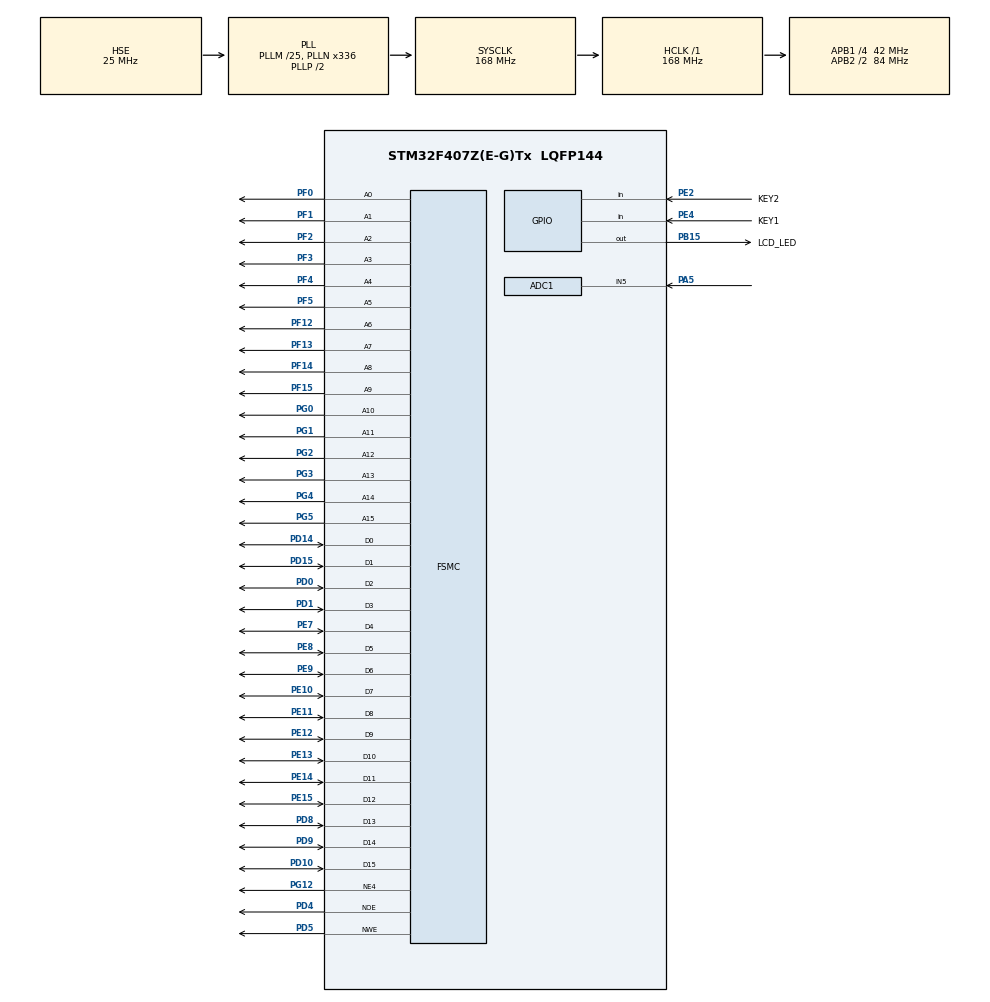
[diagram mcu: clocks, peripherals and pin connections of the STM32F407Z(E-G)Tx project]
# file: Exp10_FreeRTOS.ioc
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ADC1.Channel-0\#ChannelRegularConversion=ADC_CHANNEL_5
ADC1.NbrOfConversionFlag=1
ADC1.Rank-0\#ChannelRegularConversion=1
ADC1.SamplingTime-0\#ChannelRegularConversion=ADC_SAMPLETIME_3CYCLES
ADC1.master=1
FREERTOS.Tasks01=AdcTask,0,256,StartAdcTask,Default,NULL,Dynamic,NULL,NULL;KeyTask,1,128,StartKeyTask,Default,NULL,Dynamic,NULL,NULL
FSMC.BusTurnAroundDuration1=0
FSMC.DataSetupTime1=60
FSMC.ExtendedAddressSetupTime1=3
FSMC.ExtendedDataSetupTime1=3
FSMC.ExtendedMode1=FSMC_EXTENDED_MODE_ENABLE
FSMC.WriteOperation1=FSMC_WRITE_OPERATION_ENABLE
Mcu.Family=STM32F4
Mcu.Name=STM32F407Z(E-G)Tx
Mcu.Package=LQFP144
NVIC.PriorityGroup=NVIC_PRIORITYGROUP_4
NVIC.TIM1_UP_TIM10_IRQn=true\:15\:0\:false\:false\:true\:false\:false\:true\:true
NVIC.TimeBase=TIM1_UP_TIM10_IRQn
NVIC.TimeBaseIP=TIM1
PA13.Mode=Serial_Wire
PA13.Signal=SYS_JTMS-SWDIO
PA14.Mode=Serial_Wire
PA14.Signal=SYS_JTCK-SWCLK
PA5.Signal=ADCx_IN5
PB15.GPIO_Label=LCD_LED
PB15.PinState=GPIO_PIN_SET
PB15.Signal=GPIO_Output
PD0.Signal=FSMC_D2_DA2
PD1.Signal=FSMC_D3_DA3
PD10.Signal=FSMC_D15_DA15
PD14.Signal=FSMC_D0_DA0
PD15.Signal=FSMC_D1_DA1
PD4.Signal=FSMC_NOE
PD5.Signal=FSMC_NWE
PD8.Signal=FSMC_D13_DA13
PD9.Signal=FSMC_D14_DA14
PE10.Signal=FSMC_D7_DA7
PE11.Signal=FSMC_D8_DA8
PE12.Signal=FSMC_D9_DA9
PE13.Signal=FSMC_D10_DA10
PE14.Signal=FSMC_D11_DA11
PE15.Signal=FSMC_D12_DA12
PE2.GPIO_Label=KEY2
PE2.GPIO_PuPd=GPIO_PULLUP
PE2.Signal=GPIO_Input
PE4.GPIO_Label=KEY1
PE4.GPIO_PuPd=GPIO_PULLUP
PE4.Signal=GPIO_Input
PE7.Signal=FSMC_D4_DA4
PE8.Signal=FSMC_D5_DA5
PE9.Signal=FSMC_D6_DA6
PF0.Signal=FSMC_A0
PF1.Signal=FSMC_A1
PF12.Signal=FSMC_A6
PF13.Signal=FSMC_A7
PF14.Signal=FSMC_A8
PF15.Signal=FSMC_A9
PF2.Signal=FSMC_A2
PF3.Signal=FSMC_A3
PF4.Signal=FSMC_A4
PF5.Signal=FSMC_A5
PG0.Signal=FSMC_A10
PG1.Signal=FSMC_A11
PG12.Mode=NorPsramChipSelect4_1
PG12.Signal=FSMC_NE4
PG2.Signal=FSMC_A12
PG3.Signal=FSMC_A13
PG4.Signal=FSMC_A14
PG5.Signal=FSMC_A15
PH0-OSC_IN.Mode=HSE-External-Oscillator
PH0-OSC_IN.Signal=RCC_OSC_IN
PH1-OSC_OUT.Mode=HSE-External-Oscillator
PH1-OSC_OUT.Signal=RCC_OSC_OUT
ProjectManager.HeapSize=0x200
ProjectManager.StackSize=0x400
ProjectManager.TargetToolchain=CMake
RCC.48MHZClocksFreq_Value=84000000
RCC.AHBFreq_Value=168000000
RCC.APB1CLKDivider=RCC_HCLK_DIV4
RCC.APB1Freq_Value=42000000
RCC.APB1TimFreq_Value=84000000
RCC.APB2CLKDivider=RCC_HCLK_DIV2
RCC.APB2Freq_Value=84000000
RCC.APB2TimFreq_Value=168000000
RCC.CortexFreq_Value=168000000
RCC.HCLKFreq_Value=168000000
RCC.HSE_VALUE=25000000
RCC.HSI_VALUE=16000000
RCC.LSE_VALUE=32768
RCC.PLLM=25
RCC.PLLN=336
RCC.PLLSourceVirtual=RCC_PLLSOURCE_HSE
RCC.SYSCLKFreq_VALUE=168000000
RCC.SYSCLKSource=RCC_SYSCLKSOURCE_PLLCLK
RCC.VCOOutputFreq_Value=336000000
SH.ADCx_IN5.0=ADC1_IN5,IN5
SH.FSMC_A0.0=FSMC_A0,16b-a1
SH.FSMC_A1.0=FSMC_A1,16b-a1
SH.FSMC_A10.0=FSMC_A10,16b-a1
SH.FSMC_A11.0=FSMC_A11,16b-a1
SH.FSMC_A12.0=FSMC_A12,16b-a1
SH.FSMC_A13.0=FSMC_A13,16b-a1
SH.FSMC_A14.0=FSMC_A14,16b-a1
SH.FSMC_A15.0=FSMC_A15,16b-a1
SH.FSMC_A2.0=FSMC_A2,16b-a1
SH.FSMC_A3.0=FSMC_A3,16b-a1
SH.FSMC_A4.0=FSMC_A4,16b-a1
SH.FSMC_A5.0=FSMC_A5,16b-a1
SH.FSMC_A6.0=FSMC_A6,16b-a1
SH.FSMC_A7.0=FSMC_A7,16b-a1
SH.FSMC_A8.0=FSMC_A8,16b-a1
SH.FSMC_A9.0=FSMC_A9,16b-a1
SH.FSMC_D0_DA0.0=FSMC_D0,16b-d1
SH.FSMC_D10_DA10.0=FSMC_D10,16b-d1
SH.FSMC_D11_DA11.0=FSMC_D11,16b-d1
SH.FSMC_D12_DA12.0=FSMC_D12,16b-d1
SH.FSMC_D13_DA13.0=FSMC_D13,16b-d1
SH.FSMC_D14_DA14.0=FSMC_D14,16b-d1
SH.FSMC_D15_DA15.0=FSMC_D15,16b-d1
SH.FSMC_D1_DA1.0=FSMC_D1,16b-d1
SH.FSMC_D2_DA2.0=FSMC_D2,16b-d1
SH.FSMC_D3_DA3.0=FSMC_D3,16b-d1
SH.FSMC_D4_DA4.0=FSMC_D4,16b-d1
SH.FSMC_D5_DA5.0=FSMC_D5,16b-d1
SH.FSMC_D6_DA6.0=FSMC_D6,16b-d1
SH.FSMC_D7_DA7.0=FSMC_D7,16b-d1
SH.FSMC_D8_DA8.0=FSMC_D8,16b-d1
SH.FSMC_D9_DA9.0=FSMC_D9,16b-d1
SH.FSMC_NOE.0=FSMC_NOE,Sram1
SH.FSMC_NWE.0=FSMC_NWE,Sram1
VP_FREERTOS_VS_CMSIS_V1.Mode=CMSIS_V1
VP_SYS_VS_tim1.Mode=TIM1
board=custom

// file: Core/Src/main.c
/* USER CODE BEGIN Header */
/**
  ******************************************************************************
  * @file           : main.c
  * @brief          : Main program body
  ******************************************************************************
  * @attention
  *
  * Copyright (c) 2026 STMicroelectronics.
  * All rights reserved.
  *
  * This software is licensed under terms that can be found in the LICENSE file
  * in the root directory of this software component.
  * If no LICENSE file comes with this software, it is provided AS-IS.
  *
  ******************************************************************************
  */
/* USER CODE END Header */
#include "main.h"
#include "cmsis_os.h"
#include "adc.h"
#include "gpio.h"
#include "fsmc.h"

/* USER CODE BEGIN Includes */
#include "lcd.h"
#include "stdio.h"
/* USER CODE END Includes */

/* USER CODE BEGIN PV */
#define WAVE_WIDTH  46  // main.c 也需要知道宽度才能跑 for 循环
extern uint16_t wave_buf[WAVE_WIDTH]; // 声明外部的数组实体
/* USER CODE END PV */

void SystemClock_Config(void);
void MX_FREERTOS_Init(void);

/* USER CODE BEGIN 0 */
extern osThreadId AdcTaskHandle;
extern osThreadId KeyTaskHandle;

extern void Draw_Coordinate_System(void);
/* USER CODE END 0 */

int main(void)
{

  /* MCU Configuration--------------------------------------------------------*/

  /* Reset of all peripherals, Initializes the Flash interface and the Systick. */
  HAL_Init();

  /* Configure the system clock */
  SystemClock_Config();

  /* Initialize all configured peripherals */
  MX_GPIO_Init();
  MX_ADC1_Init();
  MX_FSMC_Init();
  /* USER CODE BEGIN 2 */
  LCD_Init();
  LCD_Clear(BLACK);
  BACK_COLOR = BLACK;

  Draw_Coordinate_System();
  for (uint16_t i = 0; i < WAVE_WIDTH; i++)
  {
    wave_buf[i] = 0;
  }
  /* USER CODE END 2 */

  /* Call init function for freertos objects (in cmsis_os2.c) */
  MX_FREERTOS_Init();

  /* Start scheduler */
  osKernelStart();

  /* We should never get here as control is now taken by the scheduler */

  /* Infinite loop */
  while (1)
  {

  }
}

void SystemClock_Config(void)
{
  RCC_OscInitTypeDef RCC_OscInitStruct = {0};
  RCC_ClkInitTypeDef RCC_ClkInitStruct = {0};

  /** Configure the main internal regulator output voltage
  */
  __HAL_RCC_PWR_CLK_ENABLE();
  __HAL_PWR_VOLTAGESCALING_CONFIG(PWR_REGULATOR_VOLTAGE_SCALE1);

  /** Initializes the RCC Oscillators according to the specified parameters
  * in the RCC_OscInitTypeDef structure.
  */
  RCC_OscInitStruct.OscillatorType = RCC_OSCILLATORTYPE_HSE;
  RCC_OscInitStruct.HSEState = RCC_HSE_ON;
  RCC_OscInitStruct.PLL.PLLState = RCC_PLL_ON;
  RCC_OscInitStruct.PLL.PLLSource = RCC_PLLSOURCE_HSE;
  RCC_OscInitStruct.PLL.PLLM = 25;
  RCC_OscInitStruct.PLL.PLLN = 336;
  RCC_OscInitStruct.PLL.PLLP = RCC_PLLP_DIV2;
  RCC_OscInitStruct.PLL.PLLQ = 4;
  if (HAL_RCC_OscConfig(&RCC_OscInitStruct) != HAL_OK)
  {
    Error_Handler();
  }

  /** Initializes the CPU, AHB and APB buses clocks
  */
  RCC_ClkInitStruct.ClockType = RCC_CLOCKTYPE_HCLK|RCC_CLOCKTYPE_SYSCLK
                              |RCC_CLOCKTYPE_PCLK1|RCC_CLOCKTYPE_PCLK2;
  RCC_ClkInitStruct.SYSCLKSource = RCC_SYSCLKSOURCE_PLLCLK;
  RCC_ClkInitStruct.AHBCLKDivider = RCC_SYSCLK_DIV1;
  RCC_ClkInitStruct.APB1CLKDivider = RCC_HCLK_DIV4;
  RCC_ClkInitStruct.APB2CLKDivider = RCC_HCLK_DIV2;

  if (HAL_RCC_ClockConfig(&RCC_ClkInitStruct, FLASH_LATENCY_5) != HAL_OK)
  {
    Error_Handler();
  }
}

void HAL_TIM_PeriodElapsedCallback(TIM_HandleTypeDef *htim)
{
  if (htim->Instance == TIM1)
  {
    HAL_IncTick();
  }
}

void Error_Handler(void)
{
  __disable_irq();
  while (1)
  {
  }
}

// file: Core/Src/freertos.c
/* USER CODE BEGIN Header */
/**
  ******************************************************************************
  * File Name          : freertos.c
  * Description        : Code for freertos applications
  ******************************************************************************
  * @attention
  *
  * Copyright (c) 2026 STMicroelectronics.
  * All rights reserved.
  *
  * This software is licensed under terms that can be found in the LICENSE file
  * in the root directory of this software component.
  * If no LICENSE file comes with this software, it is provided AS-IS.
  *
  ******************************************************************************
  */
/* USER CODE END Header */

#include "FreeRTOS.h"
#include "task.h"
#include "main.h"
#include "cmsis_os.h"

/* USER CODE BEGIN Includes */
#include "lcd.h"
#include "stdio.h"
#include "adc.h"
/* USER CODE END Includes */

/* USER CODE BEGIN PD */
#define WAVE_WIDTH  46
#define WAVE_HEIGHT 220
#define WAVE_Y_TOP  40
#define WAVE_X_LEFT 10

// 3.06 ~ 3.14
#define ADC_MIN (uint16_t)(3.06f / 3.3f * 4095)
#define ADC_MAX (uint16_t)(3.14f / 3.3f * 4095)
/* USER CODE END PD */

/* USER CODE BEGIN Variables */
static uint16_t wave_buf[WAVE_WIDTH];
static uint16_t wave_pos = 0;
static uint8_t screen_full = 0;
/* USER CODE END Variables */
osThreadId AdcTaskHandle;
osThreadId KeyTaskHandle;

void StartAdcTask(void const *argument);

void StartKeyTask(void const *argument);

void MX_FREERTOS_Init(void); /* (MISRA C 2004 rule 8.1) */

/* GetIdleTaskMemory prototype (linked to static allocation support) */
void vApplicationGetIdleTaskMemory(StaticTask_t **ppxIdleTaskTCBBuffer, StackType_t **ppxIdleTaskStackBuffer,
                                   uint32_t *pulIdleTaskStackSize);

/* USER CODE BEGIN GET_IDLE_TASK_MEMORY */
static StaticTask_t xIdleTaskTCBBuffer;
static StackType_t xIdleStack[configMINIMAL_STACK_SIZE];

void vApplicationGetIdleTaskMemory(StaticTask_t **ppxIdleTaskTCBBuffer, StackType_t **ppxIdleTaskStackBuffer,
                                   uint32_t *pulIdleTaskStackSize) {
    *ppxIdleTaskTCBBuffer = &xIdleTaskTCBBuffer;
    *ppxIdleTaskStackBuffer = &xIdleStack[0];
    *pulIdleTaskStackSize = configMINIMAL_STACK_SIZE;
    /* place for user code */
}

/* USER CODE END GET_IDLE_TASK_MEMORY */

void MX_FREERTOS_Init(void) {

    /* Create the thread(s) */
    /* definition and creation of AdcTask */
    osThreadDef(AdcTask, StartAdcTask, osPriorityNormal, 0, 256);
    AdcTaskHandle = osThreadCreate(osThread(AdcTask), NULL);

    /* definition and creation of KeyTask */
    osThreadDef(KeyTask, StartKeyTask, osPriorityAboveNormal, 0, 128);
    KeyTaskHandle = osThreadCreate(osThread(KeyTask), NULL);

}

void StartAdcTask(void const *argument) {
    /* USER CODE BEGIN StartAdcTask */
    char buf[32];
    /* Infinite loop */
    for (;;) {
        // 1. 软件触发 ADC1 通道采样
        HAL_ADC_Start(&hadc1);
        HAL_ADC_PollForConversion(&hadc1, 10);
        uint16_t adc_val = HAL_ADC_GetValue(&hadc1);
        HAL_ADC_Stop(&hadc1);

        // 2. 局部打印当前的原始 ADC Code 码值，用于辅助调试
        POINT_COLOR = WHITE;
        sprintf(buf, "ADC Code: %4d ", adc_val);
        LCD_ShowString(WAVE_X_LEFT, WAVE_Y_TOP + WAVE_HEIGHT + 25, 200, 16, 16, (uint8_t *) buf);

        // 3. 将采样值限幅并等比映射到 Y 轴相对坐标轴的像素高度 (0 ~ WAVE_HEIGHT)
        uint16_t wave_y;
        if (adc_val <= ADC_MIN) {
            wave_y = 0; // 对应 3.06V 最底部
        } else if (adc_val >= ADC_MAX) {
            wave_y = WAVE_HEIGHT; // 对应 3.14V 最顶部
        } else {
            // 映射公式
            wave_y = ((uint32_t) (adc_val - ADC_MIN) * WAVE_HEIGHT) / (ADC_MAX - ADC_MIN);
        }

        // 4. 判断满屏状态，进行无闪烁波形滑动/伸展绘制
        if (!screen_full) {
            // 阶段一：向右延伸
            if (wave_pos > 0) {
                POINT_COLOR = WHITE;
                LCD_DrawLine(WAVE_X_LEFT + (wave_pos - 1) * 10, (WAVE_Y_TOP + WAVE_HEIGHT) - wave_buf[wave_pos - 1],
                             WAVE_X_LEFT + wave_pos * 10, (WAVE_Y_TOP + WAVE_HEIGHT) - wave_y);
            }
            wave_buf[wave_pos] = wave_y;
            wave_pos++;
            if (wave_pos >= WAVE_WIDTH) screen_full = 1;
        } else {
            // 阶段二：满屏后的动态滚动（滚动时绝不触碰静态坐标轴）
            // a. 原地用【黑色】重新画一遍旧线段，等同于局部定点擦除，不影响白色的轴和箭头
            POINT_COLOR = BLACK;
            for (uint16_t i = 1; i < WAVE_WIDTH; i++) {
                LCD_DrawLine(WAVE_X_LEFT + (i - 1) * 10, (WAVE_Y_TOP + WAVE_HEIGHT) - wave_buf[i - 1],
                             WAVE_X_LEFT + i * 10, (WAVE_Y_TOP + WAVE_HEIGHT) - wave_buf[i]);
            }

            // b. 队列数据整体向前平移一步（向左滑动）
            for (uint16_t i = 0; i < WAVE_WIDTH - 1; i++) {
                wave_buf[i] = wave_buf[i + 1];
            }
            wave_buf[WAVE_WIDTH - 1] = wave_y; // 将最新的点放在队列最右侧

            // c. 用【白色】重新绘制平移后的新线段
            POINT_COLOR = WHITE;
            for (uint16_t i = 1; i < WAVE_WIDTH; i++) {
                LCD_DrawLine(WAVE_X_LEFT + (i - 1) * 10, (WAVE_Y_TOP + WAVE_HEIGHT) - wave_buf[i - 1],
                             WAVE_X_LEFT + i * 10, (WAVE_Y_TOP + WAVE_HEIGHT) - wave_buf[i]);
            }
        }

        // 5. 每 50ms 刷新采样一次（释放 CPU 让给低优先级或系统空闲任务）
        osDelay(50);
    }
    /* USER CODE END StartAdcTask */
}

void StartKeyTask(void const *argument) {
    /* USER CODE BEGIN StartKeyTask */
    uint8_t key_lock = 0; // 按键自锁标志，防止长按按键导致系统高频重复调用挂起/恢复

    /* Infinite loop */
    for (;;) {
        // 读取正点原子硬件按键引脚电平
        GPIO_PinState k0_state = HAL_GPIO_ReadPin(GPIOA, GPIO_PIN_0); // KEY0 (WK_UP) 按下为高电平(SET)
        GPIO_PinState k2_state = HAL_GPIO_ReadPin(GPIOE, GPIO_PIN_2); // KEY2 按下为低电平(RESET)

        // 检测是否有按键初次被按下
        if (key_lock == 0 && (k0_state == GPIO_PIN_SET || k2_state == GPIO_PIN_RESET)) {
            osDelay(20); // FreeRTOS 优雅消抖：休眠 20ms 释放 CPU 权限

            // 再次确认按键状态
            if (HAL_GPIO_ReadPin(GPIOA, GPIO_PIN_0) == GPIO_PIN_SET) {
                // KEY0 按下 -> 挂起（暂停）ADC 任务，LCD 画面会瞬间冻结
                osThreadSuspend(AdcTaskHandle);
                key_lock = 1;
            } else if (HAL_GPIO_ReadPin(GPIOE, GPIO_PIN_2) == GPIO_PIN_RESET) {
                // KEY2 按下 -> 恢复（唤醒）ADC 任务，波形继续采集并向前滚动
                osThreadResume(AdcTaskHandle);
                key_lock = 1;
            }
        }
        // 按键被释放，解除自锁状态
        else if (HAL_GPIO_ReadPin(GPIOA, GPIO_PIN_0) == GPIO_PIN_RESET &&
                 HAL_GPIO_ReadPin(GPIOE, GPIO_PIN_2) == GPIO_PIN_SET) {
            key_lock = 0;
        }

        // 限制按键轮询频率，每 10ms 扫描一次，在空闲时让出运行权
        osDelay(10);
    }
    /* USER CODE END StartKeyTask */
}

/* USER CODE BEGIN Application */
void Draw_Coordinate_System(void) {
    POINT_COLOR = WHITE;

    // X axis (horizontal) - voltage axis
    LCD_DrawLine(WAVE_X_LEFT, WAVE_Y_TOP + WAVE_HEIGHT, WAVE_X_LEFT + WAVE_WIDTH * 10, WAVE_Y_TOP + WAVE_HEIGHT);
    LCD_DrawLine(WAVE_X_LEFT + WAVE_WIDTH * 10, WAVE_Y_TOP + WAVE_HEIGHT, WAVE_X_LEFT + WAVE_WIDTH * 10 - 8,
                 WAVE_Y_TOP + WAVE_HEIGHT - 4);
    LCD_DrawLine(WAVE_X_LEFT + WAVE_WIDTH * 10, WAVE_Y_TOP + WAVE_HEIGHT, WAVE_X_LEFT + WAVE_WIDTH * 10 - 8,
                 WAVE_Y_TOP + WAVE_HEIGHT + 4);

    // Y axis (vertical) - time axis
    LCD_DrawLine(WAVE_X_LEFT - 1, WAVE_Y_TOP, WAVE_X_LEFT - 1, WAVE_Y_TOP + WAVE_HEIGHT);
    LCD_DrawLine(WAVE_X_LEFT - 1, WAVE_Y_TOP - 5, WAVE_X_LEFT - 4, WAVE_Y_TOP + 3);
    LCD_DrawLine(WAVE_X_LEFT - 1, WAVE_Y_TOP - 5, WAVE_X_LEFT + 2, WAVE_Y_TOP + 3);

    // Axis labels: Y axis (V, voltage), X axis (t, time)
    LCD_ShowChar(WAVE_X_LEFT - 10, WAVE_Y_TOP + 4, 'V', 16, 0);
    LCD_ShowChar(WAVE_X_LEFT + WAVE_WIDTH * 10 - 10, WAVE_Y_TOP + WAVE_HEIGHT + 4, 't', 16, 0);
}

/* USER CODE END Application */
